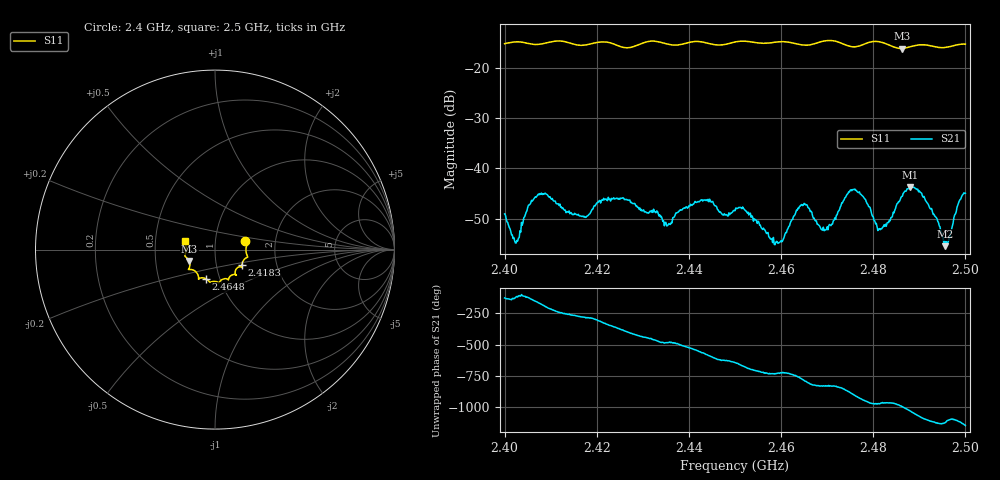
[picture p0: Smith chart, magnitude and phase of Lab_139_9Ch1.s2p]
# Hz S RI R 50
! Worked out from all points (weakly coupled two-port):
!   601 points, 2.4 GHz to 2.5 GHz, reference 50 ohm
!   highest |S21| = -43.74 dB at 2.488 GHz (marker M1); lowest = -55.5 dB at 2.4957 GHz (marker M2)
!   lowest |S11| = -16.1 dB at 2.4862 GHz (marker M3), VSWR 1.37, Z = 37.2 - j4.8 ohm
!   |S11| at or under -10 dB: start of sweep to end of sweep
!   S12 and S22 are empty: the file has one direction only
!   S11 on the Smith chart (normalised r, x): 2.4 GHz: 1.40, +0.13; 2.4183 GHz: 1.33, -0.24; 2.4648 GHz: 0.86, -0.29; 2.5 GHz: 0.71, +0.07
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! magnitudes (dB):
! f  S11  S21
! 2.4 GHz  -15.1  -49.1
! 2.4023 GHz  -14.7  -54.9
! 2.4075 GHz  -15.2  -45.3
! 2.4167 GHz  -15.4  -49.5
! 2.4183 GHz  -15.2  -49.1
! 2.4253 GHz  -15.8  -46.0
! 2.4333 GHz  -14.7  -49.0
! 2.4357 GHz  -15.3  -51.0
! 2.443 GHz  -14.8  -46.5
! 2.45 GHz  -14.8  -48.4
! 2.459 GHz  -14.8  -54.5
! 2.4648 GHz  -15.4  -47.3
! 2.4667 GHz  -15.3  -48.7
! 2.4698 GHz  -14.5  -52.2
! 2.4758 GHz  -15.7  -44.2
! 2.4813 GHz  -14.7  -52.0
! 2.4833 GHz  -15.3  -50.8
! 2.4862 GHz  -16.1  -45.6
! 2.488 GHz  -15.7  -43.7
! 2.4908 GHz  -15.3  -45.7
! 2.4957 GHz  -15.9  -55.5
! 2.5 GHz  -15.2  -44.9
